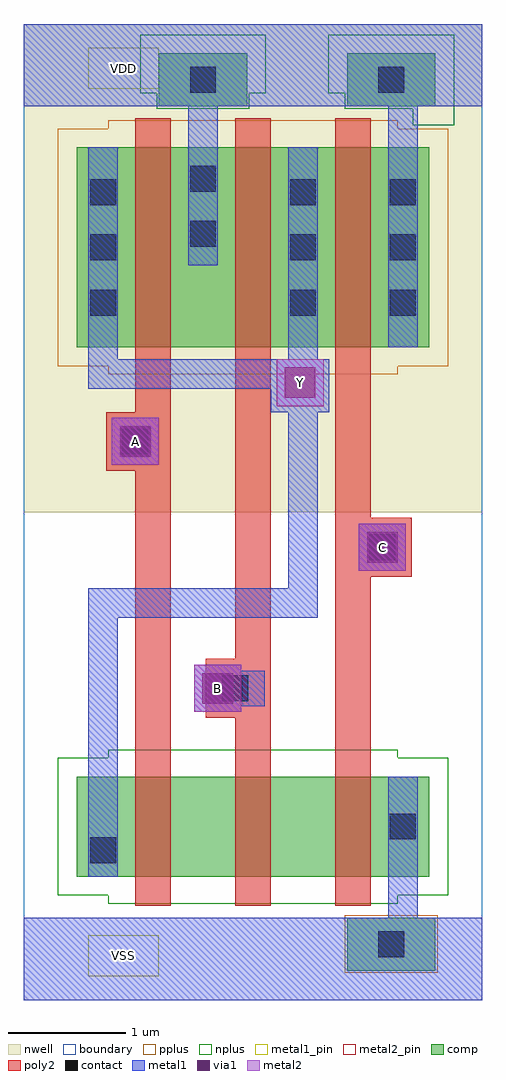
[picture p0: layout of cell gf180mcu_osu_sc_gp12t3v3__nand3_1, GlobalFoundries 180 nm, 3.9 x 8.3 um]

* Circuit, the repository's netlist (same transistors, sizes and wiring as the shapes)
** sch_path: /home/usrvnc/gits/chipathon25-SILICON_BBI-sroutk/designs/libs/core_digital/gf180mcu_osu_sc_gp12t3v3/cells/nand3/gf180mcu_osu_sc_gp12t3v3__nand3_1.sch
.subckt gf180mcu_osu_sc_gp12t3v3__nand3_1 A B Y C VDD VSS
*.PININFO A:I B:I Y:O C:I VDD:B VSS:B
XM1 net2 C VSS VSS nfet_03v3 L=0.3u W=0.85u nf=1 ad='int((nf+1)/2) * W/nf * 0.18u' as='int((nf+2)/2) * W/nf * 0.18u' pd='2*int((nf+1)/2) * (W/nf + 0.18u)'
+ ps='2*int((nf+2)/2) * (W/nf + 0.18u)' nrd='0.18u / W' nrs='0.18u / W' sa=0 sb=0 sd=0 m=1
XM2 net1 B net2 VSS nfet_03v3 L=0.3u W=0.85u nf=1 ad='int((nf+1)/2) * W/nf * 0.18u' as='int((nf+2)/2) * W/nf * 0.18u' pd='2*int((nf+1)/2) * (W/nf + 0.18u)'
+ ps='2*int((nf+2)/2) * (W/nf + 0.18u)' nrd='0.18u / W' nrs='0.18u / W' sa=0 sb=0 sd=0 m=1
XM3 Y A net1 VSS nfet_03v3 L=0.3u W=0.85u nf=1 ad='int((nf+1)/2) * W/nf * 0.18u' as='int((nf+2)/2) * W/nf * 0.18u' pd='2*int((nf+1)/2) * (W/nf + 0.18u)'
+ ps='2*int((nf+2)/2) * (W/nf + 0.18u)' nrd='0.18u / W' nrs='0.18u / W' sa=0 sb=0 sd=0 m=1
XM4 Y A VDD VDD pfet_03v3 L=0.3u W=1.7u nf=1 ad='int((nf+1)/2) * W/nf * 0.18u' as='int((nf+2)/2) * W/nf * 0.18u' pd='2*int((nf+1)/2) * (W/nf + 0.18u)'
+ ps='2*int((nf+2)/2) * (W/nf + 0.18u)' nrd='0.18u / W' nrs='0.18u / W' sa=0 sb=0 sd=0 m=1
XM5 Y B VDD VDD pfet_03v3 L=0.3u W=1.7u nf=1 ad='int((nf+1)/2) * W/nf * 0.18u' as='int((nf+2)/2) * W/nf * 0.18u' pd='2*int((nf+1)/2) * (W/nf + 0.18u)'
+ ps='2*int((nf+2)/2) * (W/nf + 0.18u)' nrd='0.18u / W' nrs='0.18u / W' sa=0 sb=0 sd=0 m=1
XM6 Y C VDD VDD pfet_03v3 L=0.3u W=1.7u nf=1 ad='int((nf+1)/2) * W/nf * 0.18u' as='int((nf+2)/2) * W/nf * 0.18u' pd='2*int((nf+1)/2) * (W/nf + 0.18u)'
+ ps='2*int((nf+2)/2) * (W/nf + 0.18u)' nrd='0.18u / W' nrs='0.18u / W' sa=0 sb=0 sd=0 m=1
.ends

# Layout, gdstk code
import gdstk
lib = gdstk.Library(unit=1e-6, precision=1e-09)
def R(c, l, rs):  # rectangles x0, y0, x1, y1
    for r in rs: c.add(gdstk.rectangle(r[:2], r[2:], *l))
def A(c, l, x, y, w, h, nx, ny, dx, dy):  # array of equal rectangles
    R(c, l, [(x+i*dx, y+j*dy, x+i*dx+w, y+j*dy+h) for i in range(nx) for j in range(ny)])
boundary = (0, 0)
nwell = (21, 0)
comp = (22, 0)
poly2 = (30, 0)
pplus = (31, 0)
nplus = (32, 0)
contact = (33, 0)
metal1 = (34, 0)
metal1_pin = (34, 10)
via1 = (35, 0)
metal2 = (36, 0)
metal2_pin = (36, 10)

gf180mcu_osu_sc_gp12t3v3 = lib.new_cell('gf180mcu_osu_sc_gp12t3v3__nand3_1')
R(gf180mcu_osu_sc_gp12t3v3, boundary, [(-0.85,0,3.05,8.3)])
R(gf180mcu_osu_sc_gp12t3v3, nwell, [(-0.85,4.15,3.05,8.3)])
R(gf180mcu_osu_sc_gp12t3v3, comp, [(1.9,0.25,2.65,0.7), (-0.4,1.05,2.6,1.9), (-0.4,5.55,2.6,7.25), (0.3,7.6,1.05,8.05), (1.9,7.6,2.65,8.05)])
R(gf180mcu_osu_sc_gp12t3v3, poly2, [(0.1,0.8,0.4,4.5), (0.95,0.8,1.25,2.4), (1.8,0.8,2.1,3.6), (0.7,2.4,1.25,2.9), (0.95,2.9,1.25,7.5), (1.8,3.6,2.45,4.1), (1.8,4.1,2.1,7.5), (-0.15,4.5,0.4,5), (0.1,5,0.4,7.5)])
R(gf180mcu_osu_sc_gp12t3v3, pplus, [(1.88,0.23,2.67,0.72), (-0.13,5.32,2.33,5.39), (-0.56,5.39,2.76,7.41), (-0.13,7.41,2.33,7.48)])
R(gf180mcu_osu_sc_gp12t3v3, nplus, [(-0.13,0.82,2.33,0.89), (-0.56,0.89,2.76,2.06), (-0.13,2.06,2.33,2.13), (2.46,7.44,2.81,7.58), (0.28,7.58,1.07,7.71), (1.88,7.58,2.81,7.71), (0.14,7.71,1.21,8.21), (1.74,7.71,2.81,8.21)])
A(gf180mcu_osu_sc_gp12t3v3, contact, -0.285, 5.82, 0.22, 0.22, 1, 3, 0, 0.47)
A(gf180mcu_osu_sc_gp12t3v3, contact, 1.415, 5.82, 0.22, 0.22, 1, 3, 0, 0.47)
A(gf180mcu_osu_sc_gp12t3v3, contact, 2.265, 5.82, 0.22, 0.22, 1, 3, 0, 0.47)
R(gf180mcu_osu_sc_gp12t3v3, contact, [(2.165,0.365,2.385,0.585), (-0.285,1.165,-0.065,1.385), (2.265,1.365,2.485,1.585), (0.84,2.54,1.06,2.76), (2.09,3.74,2.31,3.96), (-0.01,4.64,0.21,4.86), (0.565,6.405,0.785,6.625), (0.565,6.875,0.785,7.095), (0.565,7.715,0.785,7.935), (2.165,7.715,2.385,7.935)])
R(gf180mcu_osu_sc_gp12t3v3, metal1, [(-0.85,0,3.05,0.7), (2.25,0.7,2.5,1.9), (-0.3,1.05,-0.05,3.25), (0.6,2.45,1,2.5), (0.6,2.5,1.2,2.8), (0.6,2.8,1,2.85), (-0.3,3.25,1.65,3.5), (1.4,3.5,1.65,5), (2,3.65,2.4,4.05), (-0.1,4.55,0.3,4.95), (1.25,5,1.75,5.2), (-0.3,5.2,1.75,5.45), (-0.3,5.45,-0.05,7.25), (1.4,5.45,1.65,7.25), (2.25,5.55,2.5,7.6), (0.55,6.25,0.8,7.6), (-0.85,7.6,3.05,8.3)])
R(gf180mcu_osu_sc_gp12t3v3, metal1_pin, [(-0.3,0.2,0.3,0.55), (-0.3,7.75,0.3,8.1)])
R(gf180mcu_osu_sc_gp12t3v3, via1, [(0.67,2.52,0.93,2.78), (2.07,3.72,2.33,3.98), (-0.03,4.62,0.23,4.88), (1.37,5.12,1.63,5.38)])
R(gf180mcu_osu_sc_gp12t3v3, metal2, [(0.6,2.45,1,2.85), (2,3.65,2.4,4.05), (-0.1,4.55,0.3,4.95), (1.3,5.05,1.7,5.45)])
R(gf180mcu_osu_sc_gp12t3v3, metal2_pin, [(0.6,2.45,1,2.85), (2,3.65,2.4,4.05), (-0.1,4.55,0.3,4.95), (1.3,5.05,1.7,5.45)])
gf180mcu_osu_sc_gp12t3v3.add(gdstk.Label('A', (0.1,4.75), layer=36, texttype=10))
gf180mcu_osu_sc_gp12t3v3.add(gdstk.Label('B', (0.8,2.65), layer=36, texttype=10))
gf180mcu_osu_sc_gp12t3v3.add(gdstk.Label('Y', (1.5,5.25), layer=36, texttype=10))
gf180mcu_osu_sc_gp12t3v3.add(gdstk.Label('C', (2.2,3.85), layer=36, texttype=10))
gf180mcu_osu_sc_gp12t3v3.add(gdstk.Label('VDD', (0,7.925), layer=34, texttype=10))
gf180mcu_osu_sc_gp12t3v3.add(gdstk.Label('VSS', (0,0.375), layer=34, texttype=10))

lib.write_gds('gf180mcu_osu_sc_gp12t3v3__nand3_1.gds')
